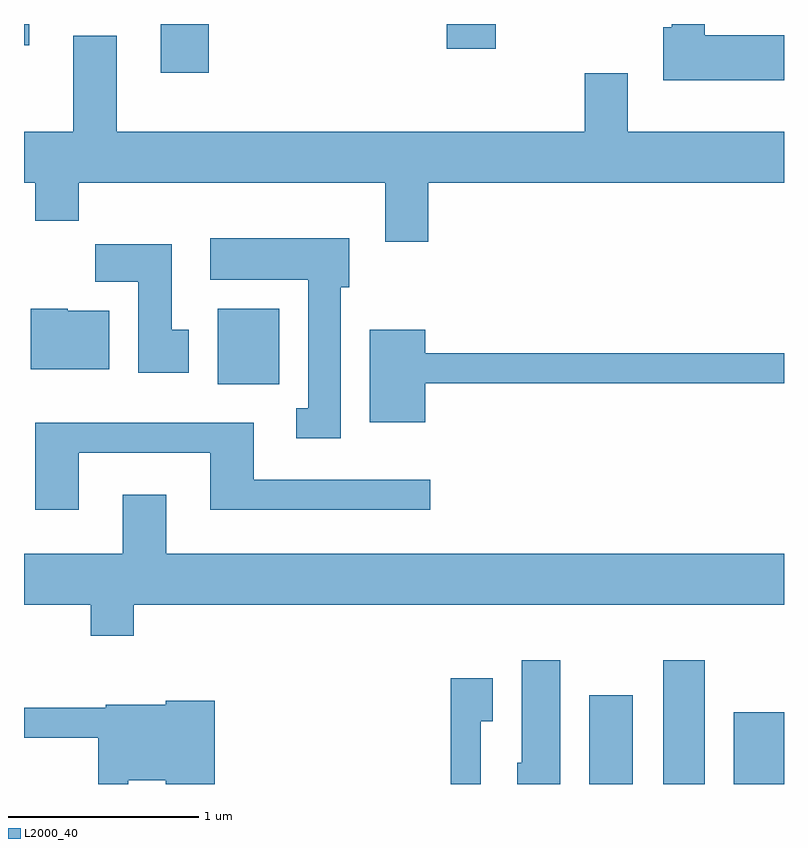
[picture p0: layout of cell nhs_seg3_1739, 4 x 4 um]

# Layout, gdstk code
import gdstk
lib = gdstk.Library(unit=1e-6, precision=1e-09)
def R(c, l, rs):  # rectangles x0, y0, x1, y1
    for r in rs: c.add(gdstk.rectangle(r[:2], r[2:], *l))
def P(c, l, *ps):  # polygons
    for p in ps: c.add(gdstk.Polygon(p, *l))
L2000_40 = (2000, 40)

nhs_seg3_1739 = lib.new_cell('nhs_seg3_1739')
R(nhs_seg3_1739, L2000_40, [(238.586,1193.892,238.814,1194.359), (238.976,1193.892,239.194,1194.544), (239.346,1193.892,239.611,1194.269), (236.631,1195.996,236.954,1196.394), (236.331,1197.636,236.584,1197.892), (237.836,1197.761,238.094,1197.892), (235.611,1197.781,235.639,1197.892)])
P(nhs_seg3_1739, L2000_40, [(239.611,1197.834),(239.194,1197.834),(239.194,1197.892),(239.021,1197.892),(239.021,1197.874),(238.976,1197.874),(238.976,1197.596),(239.611,1197.596)],
  [(237.739,1197.056),(239.611,1197.056),(239.611,1197.324),(238.789,1197.324),(238.789,1197.634),(238.561,1197.634),(238.561,1197.324),(236.099,1197.324),(236.099,1197.829),(235.871,1197.829),(235.871,1197.324),(235.611,1197.324),(235.611,1197.056),(235.671,1197.056),(235.671,1196.856),(235.899,1196.856),(235.899,1197.056),(237.511,1197.056),(237.511,1196.746),(237.739,1196.746)],
  [(237.279,1196.506),(237.324,1196.506),(237.324,1196.764),(236.591,1196.764),(236.591,1196.546),(237.106,1196.546),(237.106,1195.869),(237.043,1195.869),(237.043,1195.711),(237.279,1195.711)],
  [(236.479,1196.284),(236.389,1196.284),(236.389,1196.734),(235.986,1196.734),(235.986,1196.536),(236.211,1196.536),(236.211,1196.056),(236.479,1196.056)],
  [(236.059,1196.384),(235.84,1196.384),(235.84,1196.394),(235.646,1196.394),(235.646,1196.076),(236.059,1196.076)],
  [(237.724,1196.001),(239.611,1196.001),(239.611,1196.159),(237.724,1196.159),(237.724,1196.284),(237.431,1196.284),(237.431,1195.796),(237.724,1195.796)],
  [(235.899,1195.636),(236.591,1195.636),(236.591,1195.336),(237.748,1195.336),(237.748,1195.494),(236.819,1195.494),(236.819,1195.794),(235.671,1195.794),(235.671,1195.336),(235.899,1195.336)],
  [(236.189,1194.836),(239.611,1194.836),(239.611,1195.104),(236.359,1195.104),(236.359,1195.414),(236.131,1195.414),(236.131,1195.104),(235.611,1195.104),(235.611,1194.836),(235.961,1194.836),(235.961,1194.671),(236.189,1194.671)],
  [(238.434,1194.544),(238.231,1194.544),(238.231,1194.004),(238.206,1194.004),(238.206,1193.892),(238.434,1193.892)],
  [(238.014,1194.221),(238.079,1194.221),(238.079,1194.449),(237.856,1194.449),(237.856,1193.892),(238.014,1193.892)],
  [(236.159,1193.911),(236.356,1193.911),(236.356,1193.892),(236.614,1193.892),(236.614,1194.329),(236.356,1194.329),(236.356,1194.309),(236.04,1194.309),(236.04,1194.294),(235.611,1194.294),(235.611,1194.136),(236.001,1194.136),(236.001,1193.892),(236.159,1193.892)])

lib.write_gds('nhs_seg3_1739.gds')
